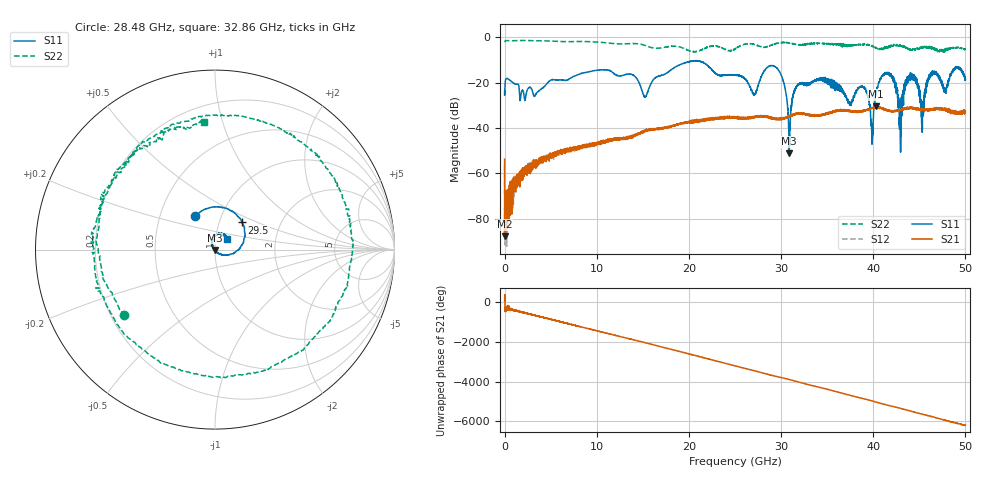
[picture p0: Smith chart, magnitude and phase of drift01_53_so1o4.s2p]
!Created with skrf (http://scikit-rf.org).
# Hz S RI R 50.0
!freq ReS11 ImS11 ReS21 ImS21 ReS12 ImS12 ReS22 ImS22
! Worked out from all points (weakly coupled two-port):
!   10001 points, 300 kHz to 50 GHz, reference 50 ohm
!   highest |S21| = -30.47 dB at 40.3 GHz (marker M1); lowest = -87.8 dB at 5.3 MHz (marker M2)
!   lowest |S11| = -51.2 dB at 30.89 GHz (marker M3), VSWR 1.01, Z = 49.8 - j0.183 ohm
!   |S11| at or under -10 dB: start of sweep to end of sweep
!   |S22| runs from -6.7 to -1.4 dB; largest |S21 - S12| = 0.0039
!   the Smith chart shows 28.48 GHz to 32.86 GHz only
!   S11 on the Smith chart (normalised r, x): 28.48 GHz: 0.75, +0.29; 29.5 GHz: 1.28, +0.41; 32.86 GHz: 1.14, +0.14
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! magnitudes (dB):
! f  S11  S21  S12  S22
! 300 kHz  -23.7  -53.7  -56.3  -2.1
! 5.3 MHz  -25.6  -87.8  -86.4  -2.1
! 255.3 MHz  -18.1  -72.7  -81.9  -1.4
! 2.26 GHz  -26.9  -58.1  -57.9  -1.4
! 8.335 GHz  -15.9  -48.7  -48.4  -1.8
! 16.67 GHz  -17.1  -40.3  -40.2  -4.8
! 25 GHz  -16.6  -35.4  -35.7  -5.1
! 27.11 GHz  -25.3  -35.3  -35.0  -3.2
! 28.48 GHz  -13.3  -35.1  -35.1  -4.0
! 29.5 GHz  -13.4  -35.8  -36.0  -2.7
! 30.89 GHz  -51.2  -34.8  -34.8  -2.5
! 32.86 GHz  -20.7  -34.0  -33.8  -3.0
! 33.34 GHz  -19.8  -34.2  -34.3  -2.7
! 38.92 GHz  -22.1  -32.4  -32.6  -3.0
! 39.88 GHz  -45.9  -31.2  -31.1  -3.7
! 40.3 GHz  -25.1  -30.5  -30.8  -4.6
! 41.67 GHz  -16.3  -32.3  -32.4  -4.2
! 42.91 GHz  -33.2  -32.4  -32.1  -3.3
! 44.07 GHz  -17.1  -31.2  -31.2  -5.3
! 45.31 GHz  -39.2  -31.9  -31.9  -4.5
! 46.42 GHz  -15.5  -31.5  -31.8  -4.6
! 50 GHz  -18.6  -32.6  -32.7  -5.4
